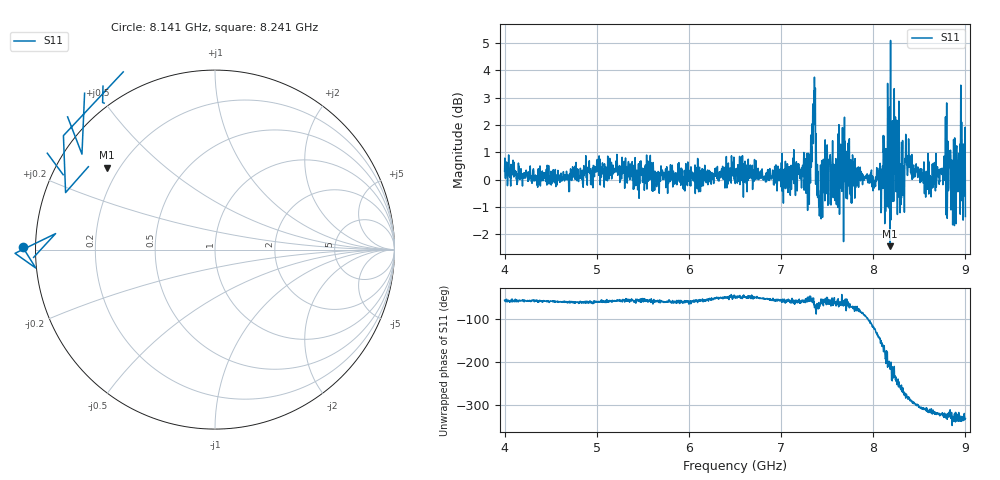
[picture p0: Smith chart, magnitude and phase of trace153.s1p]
! Created with skrf 1.8.0 (http://scikit-rf.org).
# Hz S RI R 50.0
!freq ReS11 ImS11
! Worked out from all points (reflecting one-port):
!   1601 points, 4 GHz to 9 GHz, reference 50 ohm
!   lowest |S11| = -2.4 dB at 8.184 GHz (marker M1), VSWR 7.16, Z = 7.76 + j16.5 ohm
!   phase of S11 starts at -56 deg and turns -276 deg over the sweep
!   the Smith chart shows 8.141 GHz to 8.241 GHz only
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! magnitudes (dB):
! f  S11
! 4 GHz  0.3
! 4.625 GHz  0.0
! 5.25 GHz  -0.1
! 5.875 GHz  0.1
! 6.5 GHz  0.2
! 7.125 GHz  0.2
! 7.294 GHz  1.0
! 7.309 GHz  0.6
! 7.347 GHz  2.8
! 7.369 GHz  2.7
! 7.4 GHz  0.3
! 7.428 GHz  0.5
! 7.481 GHz  -0.2
! 7.591 GHz  0.3
! 7.669 GHz  1.0
! 7.697 GHz  -0.1
! 7.75 GHz  0.1
! 8.009 GHz  -0.3
! 8.162 GHz  -0.5
! 8.184 GHz  -2.4
! 8.253 GHz  1.2
! 8.316 GHz  0.6
! 8.375 GHz  0.3
! 8.628 GHz  -0.6
! 8.816 GHz  -0.4
! 8.875 GHz  0.8
! 8.972 GHz  0.6
! 9 GHz  -1.4
